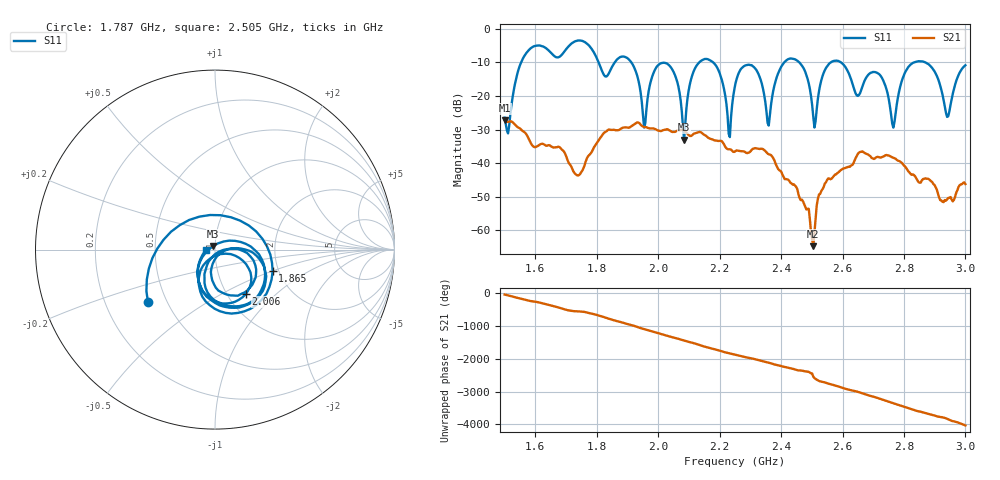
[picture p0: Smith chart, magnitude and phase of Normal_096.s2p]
# HZ S RI R 50
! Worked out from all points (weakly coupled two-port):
!   404 points, 1.5 GHz to 3 GHz, reference 50 ohm
!   highest |S21| = -27.22 dB at 1.5 GHz (marker M1); lowest = -64.7 dB at 2.505 GHz (marker M2)
!   lowest |S11| = -33.0 dB at 2.084 GHz (marker M3), VSWR 1.05, Z = 48.9 + j1.92 ohm
!   |S11| at or under -10 dB: 1.912 GHz to 2.134 GHz (221.8 MHz wide, 11 % of centre); 2.178 GHz to 2.411 GHz (232.2 MHz wide, 10.1 % of centre); 2.594 GHz to 2.834 GHz (239.7 MHz wide, 8.83 % of centre) (the widest 3 of 7)
!   S12 and S22 are empty: the file has one direction only
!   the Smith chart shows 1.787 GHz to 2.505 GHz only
!   S11 on the Smith chart (normalised r, x): 1.787 GHz: 0.39, -0.30; 1.865 GHz: 1.86, -0.51; 2.006 GHz: 1.22, -0.66; 2.505 GHz: 0.91, -0.00
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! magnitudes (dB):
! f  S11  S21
! 1.5 GHz  -26.5  -27.2
! 1.578 GHz  -6.4  -32.7
! 1.753 GHz  -3.7  -42.2
! 1.787 GHz  -6.5  -36.1
! 1.865 GHz  -9.3  -30.2
! 1.954 GHz  -29.4  -29.2
! 2.002 GHz  -10.7  -30.3
! 2.006 GHz  -10.4  -30.4
! 2.084 GHz  -33.0  -30.2
! 2.14 GHz  -9.5  -30.9
! 2.23 GHz  -31.3  -35.9
! 2.252 GHz  -16.2  -36.4
! 2.311 GHz  -11.4  -35.6
! 2.36 GHz  -28.8  -37.3
! 2.442 GHz  -9.0  -46.3
! 2.501 GHz  -22.8  -62.8
! 2.505 GHz  -26.3  -64.7
! 2.576 GHz  -9.6  -43.4
! 2.751 GHz  -21.0  -37.8
! 2.862 GHz  -9.8  -44.7
! 2.944 GHz  -26.0  -50.3
! 3 GHz  -10.9  -46.2
